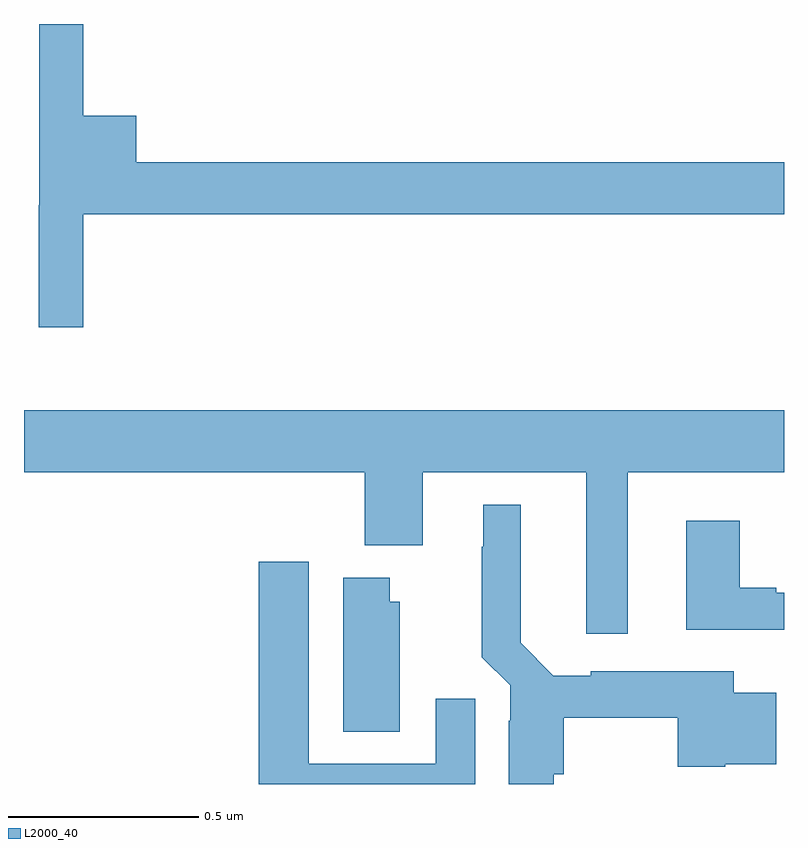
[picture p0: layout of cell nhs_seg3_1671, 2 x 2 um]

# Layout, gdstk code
import gdstk
lib = gdstk.Library(unit=1e-6, precision=1e-09)
def P(c, l, *ps):  # polygons
    for p in ps: c.add(gdstk.Polygon(p, *l))
L2000_40 = (2000, 40)

nhs_seg3_1671 = lib.new_cell('nhs_seg3_1671')
P(nhs_seg3_1671, L2000_40, [(131.156,730.9),(133,730.9),(133,731.036),(131.296,731.036),(131.296,731.158),(131.156,731.158),(131.156,731.4),(131.04,731.4),(131.04,730.923),(131.039,730.923),(131.039,730.602),(131.156,730.602)],
  [(132.589,730.22),(133,730.22),(133,730.384),(131,730.384),(131,730.22),(131.897,730.22),(131.897,730.028),(132.049,730.028),(132.049,730.22),(132.479,730.22),(132.479,729.795),(132.589,729.795)],
  [(132.394,729.426),(132.42,729.426),(132.42,729.575),(132.721,729.575),(132.721,729.446),(132.846,729.446),(132.846,729.452),(132.979,729.452),(132.979,729.64),(132.868,729.64),(132.868,729.697),(132.492,729.697),(132.492,729.685),(132.393,729.685),(132.307,729.772),(132.307,730.135),(132.209,730.135),(132.209,730.025),(132.205,730.025),(132.205,729.734),(132.279,729.66),(132.279,729.566),(132.275,729.566),(132.275,729.4),(132.394,729.4)],
  [(133,729.903),(132.979,729.903),(132.979,729.916),(132.883,729.916),(132.883,730.093),(132.743,730.093),(132.743,729.806),(133,729.806)],
  [(132.187,729.625),(132.083,729.625),(132.083,729.453),(131.749,729.453),(131.749,729.985),(131.618,729.985),(131.618,729.4),(132.187,729.4)],
  [(131.989,729.879),(131.962,729.879),(131.962,729.943),(131.84,729.943),(131.84,729.538),(131.989,729.538)])

lib.write_gds('nhs_seg3_1671.gds')
